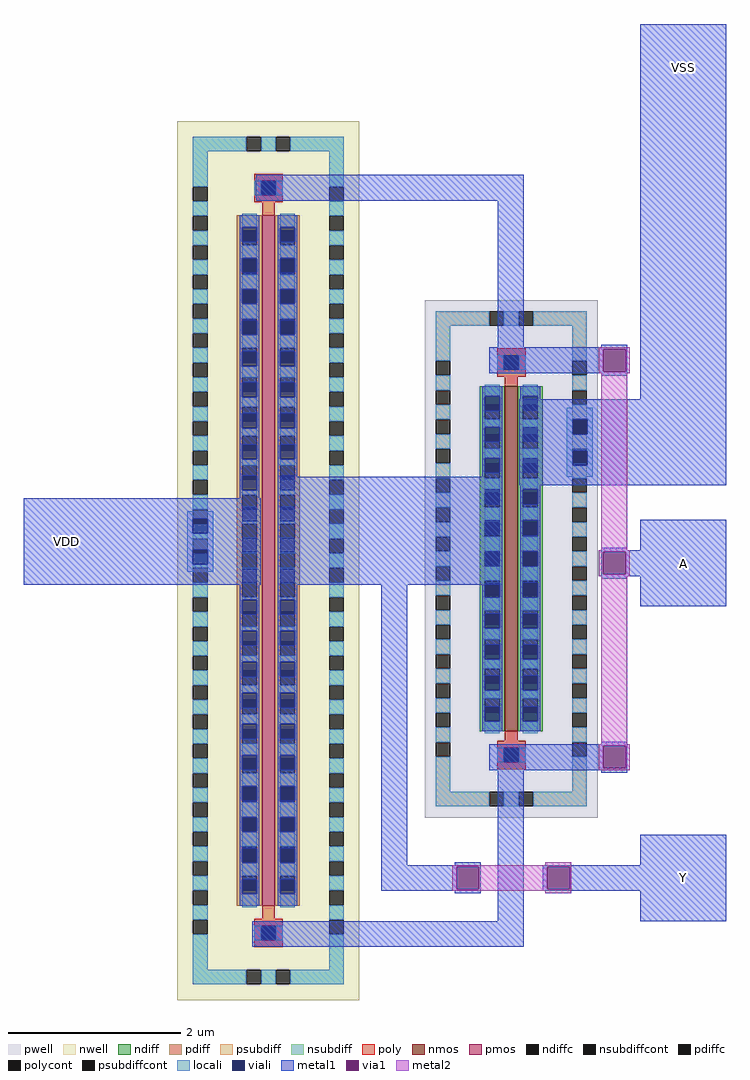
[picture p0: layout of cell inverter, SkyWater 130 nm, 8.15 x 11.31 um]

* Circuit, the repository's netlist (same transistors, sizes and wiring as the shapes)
** sch_path: /home/anton/projects/tt06-grab-bag/xschem/inverter.sch
.subckt inverter VDD VSS A Y
*.PININFO VDD:B VSS:B A:I Y:O
XM1 Y A VDD VDD sky130_fd_pr__pfet_01v8 L=0.15 W=8 nf=1 m=1
XM2 Y A VSS VSS sky130_fd_pr__nfet_01v8 L=0.15 W=4 nf=1 m=1
.ends
.end

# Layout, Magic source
magic
tech sky130A
magscale 1 2
<< locali >>
rect 850 1893 910 1920
rect 850 1859 863 1893
rect 897 1859 910 1893
rect 850 1821 910 1859
rect 850 1787 863 1821
rect 897 1787 910 1821
rect 850 1760 910 1787
rect -30 1663 30 1680
rect -30 1629 -17 1663
rect 17 1629 30 1663
rect -30 1591 30 1629
rect -30 1557 -17 1591
rect 17 1557 30 1591
rect -30 1540 30 1557
<< viali >>
rect 863 1859 897 1893
rect 863 1787 897 1821
rect -17 1629 17 1663
rect -17 1557 17 1591
<< metal1 >>
rect 130 2400 750 2460
rect 690 2060 750 2400
rect 930 2060 990 2066
rect 670 2056 990 2060
rect 670 2004 934 2056
rect 986 2004 990 2056
rect 670 2000 990 2004
rect 930 1994 990 2000
rect 1020 1940 1220 2810
rect 740 1893 1220 1940
rect 740 1859 863 1893
rect 897 1859 1220 1893
rect 740 1821 1220 1859
rect 740 1787 863 1821
rect 897 1787 1220 1821
rect -410 1663 140 1710
rect -410 1629 -17 1663
rect 17 1629 140 1663
rect -410 1591 140 1629
rect -410 1557 -17 1591
rect 17 1557 140 1591
rect -410 1510 140 1557
rect 180 1510 700 1760
rect 740 1740 1220 1787
rect 930 1590 990 1596
rect 1020 1590 1220 1660
rect 930 1586 1220 1590
rect 930 1534 934 1586
rect 986 1534 1220 1586
rect 930 1530 1220 1534
rect 930 1524 990 1530
rect 420 860 480 1510
rect 1020 1460 1220 1530
rect 930 1140 990 1146
rect 670 1136 990 1140
rect 670 1084 934 1136
rect 986 1084 990 1136
rect 670 1080 990 1084
rect 590 860 650 866
rect 420 856 650 860
rect 420 804 594 856
rect 646 804 650 856
rect 420 800 650 804
rect 590 794 650 800
rect 690 730 750 1080
rect 930 1074 990 1080
rect 1020 860 1220 930
rect 794 856 1220 860
rect 794 804 804 856
rect 856 804 1220 856
rect 794 800 1220 804
rect 1020 730 1220 800
rect 120 670 750 730
<< via1 >>
rect 934 2004 986 2056
rect 934 1534 986 1586
rect 934 1084 986 1136
rect 594 804 646 856
rect 804 804 856 856
<< metal2 >>
rect 924 2056 996 2060
rect 924 2004 934 2056
rect 986 2004 996 2056
rect 924 2000 996 2004
rect 930 1590 990 2000
rect 924 1586 996 1590
rect 924 1534 934 1586
rect 986 1534 996 1586
rect 924 1530 996 1534
rect 930 1140 990 1530
rect 924 1136 996 1140
rect 924 1084 934 1136
rect 986 1084 996 1136
rect 924 1080 996 1084
rect 800 860 860 866
rect 584 856 860 860
rect 584 804 594 856
rect 646 804 804 856
rect 856 804 860 856
rect 584 800 860 804
rect 800 794 860 800
use sky130_fd_pr__pfet_01v8_UGACMG  XM1
transform 1 0 158 0 1 1566
box -211 -1019 211 1019
use sky130_fd_pr__nfet_01v8_PWNS5P  XM2
transform 1 0 721 0 1 1570
box -201 -600 201 600
<< labels >>
flabel metal1 s -410 1510 -210 1710 0 FreeSans 1600 0 0 0 VDD
port 1 nsew
flabel metal1 s 1020 2610 1220 2810 0 FreeSans 1600 0 0 0 VSS
port 2 nsew
flabel metal1 s 1020 1460 1220 1660 0 FreeSans 1600 0 0 0 A
port 3 nsew
flabel metal1 s 1020 730 1220 930 0 FreeSans 1600 0 0 0 Y
port 4 nsew
<< properties >>
string GDS_END 67878
string GDS_FILE /home/anton/projects/tt06-grab-bag/gds/tt_um_algofoogle_tt06_grab_bag.gds
string GDS_START 64338
<< end >>

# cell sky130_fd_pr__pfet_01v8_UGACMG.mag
magic
tech sky130A
magscale 1 2
<< nwell >>
rect -211 -1019 211 1019
<< pmos >>
rect -15 -800 15 800
<< pdiff >>
rect -73 765 -15 800
rect -73 731 -61 765
rect -27 731 -15 765
rect -73 697 -15 731
rect -73 663 -61 697
rect -27 663 -15 697
rect -73 629 -15 663
rect -73 595 -61 629
rect -27 595 -15 629
rect -73 561 -15 595
rect -73 527 -61 561
rect -27 527 -15 561
rect -73 493 -15 527
rect -73 459 -61 493
rect -27 459 -15 493
rect -73 425 -15 459
rect -73 391 -61 425
rect -27 391 -15 425
rect -73 357 -15 391
rect -73 323 -61 357
rect -27 323 -15 357
rect -73 289 -15 323
rect -73 255 -61 289
rect -27 255 -15 289
rect -73 221 -15 255
rect -73 187 -61 221
rect -27 187 -15 221
rect -73 153 -15 187
rect -73 119 -61 153
rect -27 119 -15 153
rect -73 85 -15 119
rect -73 51 -61 85
rect -27 51 -15 85
rect -73 17 -15 51
rect -73 -17 -61 17
rect -27 -17 -15 17
rect -73 -51 -15 -17
rect -73 -85 -61 -51
rect -27 -85 -15 -51
rect -73 -119 -15 -85
rect -73 -153 -61 -119
rect -27 -153 -15 -119
rect -73 -187 -15 -153
rect -73 -221 -61 -187
rect -27 -221 -15 -187
rect -73 -255 -15 -221
rect -73 -289 -61 -255
rect -27 -289 -15 -255
rect -73 -323 -15 -289
rect -73 -357 -61 -323
rect -27 -357 -15 -323
rect -73 -391 -15 -357
rect -73 -425 -61 -391
rect -27 -425 -15 -391
rect -73 -459 -15 -425
rect -73 -493 -61 -459
rect -27 -493 -15 -459
rect -73 -527 -15 -493
rect -73 -561 -61 -527
rect -27 -561 -15 -527
rect -73 -595 -15 -561
rect -73 -629 -61 -595
rect -27 -629 -15 -595
rect -73 -663 -15 -629
rect -73 -697 -61 -663
rect -27 -697 -15 -663
rect -73 -731 -15 -697
rect -73 -765 -61 -731
rect -27 -765 -15 -731
rect -73 -800 -15 -765
rect 15 765 73 800
rect 15 731 27 765
rect 61 731 73 765
rect 15 697 73 731
rect 15 663 27 697
rect 61 663 73 697
rect 15 629 73 663
rect 15 595 27 629
rect 61 595 73 629
rect 15 561 73 595
rect 15 527 27 561
rect 61 527 73 561
rect 15 493 73 527
rect 15 459 27 493
rect 61 459 73 493
rect 15 425 73 459
rect 15 391 27 425
rect 61 391 73 425
rect 15 357 73 391
rect 15 323 27 357
rect 61 323 73 357
rect 15 289 73 323
rect 15 255 27 289
rect 61 255 73 289
rect 15 221 73 255
rect 15 187 27 221
rect 61 187 73 221
rect 15 153 73 187
rect 15 119 27 153
rect 61 119 73 153
rect 15 85 73 119
rect 15 51 27 85
rect 61 51 73 85
rect 15 17 73 51
rect 15 -17 27 17
rect 61 -17 73 17
rect 15 -51 73 -17
rect 15 -85 27 -51
rect 61 -85 73 -51
rect 15 -119 73 -85
rect 15 -153 27 -119
rect 61 -153 73 -119
rect 15 -187 73 -153
rect 15 -221 27 -187
rect 61 -221 73 -187
rect 15 -255 73 -221
rect 15 -289 27 -255
rect 61 -289 73 -255
rect 15 -323 73 -289
rect 15 -357 27 -323
rect 61 -357 73 -323
rect 15 -391 73 -357
rect 15 -425 27 -391
rect 61 -425 73 -391
rect 15 -459 73 -425
rect 15 -493 27 -459
rect 61 -493 73 -459
rect 15 -527 73 -493
rect 15 -561 27 -527
rect 61 -561 73 -527
rect 15 -595 73 -561
rect 15 -629 27 -595
rect 61 -629 73 -595
rect 15 -663 73 -629
rect 15 -697 27 -663
rect 61 -697 73 -663
rect 15 -731 73 -697
rect 15 -765 27 -731
rect 61 -765 73 -731
rect 15 -800 73 -765
<< pdiffc >>
rect -61 731 -27 765
rect -61 663 -27 697
rect -61 595 -27 629
rect -61 527 -27 561
rect -61 459 -27 493
rect -61 391 -27 425
rect -61 323 -27 357
rect -61 255 -27 289
rect -61 187 -27 221
rect -61 119 -27 153
rect -61 51 -27 85
rect -61 -17 -27 17
rect -61 -85 -27 -51
rect -61 -153 -27 -119
rect -61 -221 -27 -187
rect -61 -289 -27 -255
rect -61 -357 -27 -323
rect -61 -425 -27 -391
rect -61 -493 -27 -459
rect -61 -561 -27 -527
rect -61 -629 -27 -595
rect -61 -697 -27 -663
rect -61 -765 -27 -731
rect 27 731 61 765
rect 27 663 61 697
rect 27 595 61 629
rect 27 527 61 561
rect 27 459 61 493
rect 27 391 61 425
rect 27 323 61 357
rect 27 255 61 289
rect 27 187 61 221
rect 27 119 61 153
rect 27 51 61 85
rect 27 -17 61 17
rect 27 -85 61 -51
rect 27 -153 61 -119
rect 27 -221 61 -187
rect 27 -289 61 -255
rect 27 -357 61 -323
rect 27 -425 61 -391
rect 27 -493 61 -459
rect 27 -561 61 -527
rect 27 -629 61 -595
rect 27 -697 61 -663
rect 27 -765 61 -731
<< nsubdiff >>
rect -175 949 -51 983
rect -17 949 17 983
rect 51 949 175 983
rect -175 867 -141 949
rect -175 799 -141 833
rect 141 867 175 949
rect -175 731 -141 765
rect -175 663 -141 697
rect -175 595 -141 629
rect -175 527 -141 561
rect -175 459 -141 493
rect -175 391 -141 425
rect -175 323 -141 357
rect -175 255 -141 289
rect -175 187 -141 221
rect -175 119 -141 153
rect -175 51 -141 85
rect -175 -17 -141 17
rect -175 -85 -141 -51
rect -175 -153 -141 -119
rect -175 -221 -141 -187
rect -175 -289 -141 -255
rect -175 -357 -141 -323
rect -175 -425 -141 -391
rect -175 -493 -141 -459
rect -175 -561 -141 -527
rect -175 -629 -141 -595
rect -175 -697 -141 -663
rect -175 -765 -141 -731
rect -175 -833 -141 -799
rect 141 799 175 833
rect 141 731 175 765
rect 141 663 175 697
rect 141 595 175 629
rect 141 527 175 561
rect 141 459 175 493
rect 141 391 175 425
rect 141 323 175 357
rect 141 255 175 289
rect 141 187 175 221
rect 141 119 175 153
rect 141 51 175 85
rect 141 -17 175 17
rect 141 -85 175 -51
rect 141 -153 175 -119
rect 141 -221 175 -187
rect 141 -289 175 -255
rect 141 -357 175 -323
rect 141 -425 175 -391
rect 141 -493 175 -459
rect 141 -561 175 -527
rect 141 -629 175 -595
rect 141 -697 175 -663
rect 141 -765 175 -731
rect -175 -949 -141 -867
rect 141 -833 175 -799
rect 141 -949 175 -867
rect -175 -983 -51 -949
rect -17 -983 17 -949
rect 51 -983 175 -949
<< nsubdiffcont >>
rect -51 949 -17 983
rect 17 949 51 983
rect -175 833 -141 867
rect 141 833 175 867
rect -175 765 -141 799
rect -175 697 -141 731
rect -175 629 -141 663
rect -175 561 -141 595
rect -175 493 -141 527
rect -175 425 -141 459
rect -175 357 -141 391
rect -175 289 -141 323
rect -175 221 -141 255
rect -175 153 -141 187
rect -175 85 -141 119
rect -175 17 -141 51
rect -175 -51 -141 -17
rect -175 -119 -141 -85
rect -175 -187 -141 -153
rect -175 -255 -141 -221
rect -175 -323 -141 -289
rect -175 -391 -141 -357
rect -175 -459 -141 -425
rect -175 -527 -141 -493
rect -175 -595 -141 -561
rect -175 -663 -141 -629
rect -175 -731 -141 -697
rect -175 -799 -141 -765
rect 141 765 175 799
rect 141 697 175 731
rect 141 629 175 663
rect 141 561 175 595
rect 141 493 175 527
rect 141 425 175 459
rect 141 357 175 391
rect 141 289 175 323
rect 141 221 175 255
rect 141 153 175 187
rect 141 85 175 119
rect 141 17 175 51
rect 141 -51 175 -17
rect 141 -119 175 -85
rect 141 -187 175 -153
rect 141 -255 175 -221
rect 141 -323 175 -289
rect 141 -391 175 -357
rect 141 -459 175 -425
rect 141 -527 175 -493
rect 141 -595 175 -561
rect 141 -663 175 -629
rect 141 -731 175 -697
rect 141 -799 175 -765
rect -175 -867 -141 -833
rect 141 -867 175 -833
rect -51 -983 -17 -949
rect 17 -983 51 -949
<< poly >>
rect -33 881 33 897
rect -33 847 -17 881
rect 17 847 33 881
rect -33 831 33 847
rect -15 800 15 831
rect -15 -831 15 -800
rect -33 -847 33 -831
rect -33 -881 -17 -847
rect 17 -881 33 -847
rect -33 -897 33 -881
<< polycont >>
rect -17 847 17 881
rect -17 -881 17 -847
<< locali >>
rect -175 949 -51 983
rect -17 949 17 983
rect 51 949 175 983
rect -175 867 -141 949
rect -33 847 -17 881
rect 17 847 33 881
rect 141 867 175 949
rect -175 799 -141 833
rect -175 731 -141 765
rect -175 663 -141 697
rect -175 595 -141 629
rect -175 527 -141 561
rect -175 459 -141 493
rect -175 391 -141 425
rect -175 323 -141 357
rect -175 255 -141 289
rect -175 187 -141 221
rect -175 119 -141 153
rect -175 51 -141 85
rect -175 -17 -141 17
rect -175 -85 -141 -51
rect -175 -153 -141 -119
rect -175 -221 -141 -187
rect -175 -289 -141 -255
rect -175 -357 -141 -323
rect -175 -425 -141 -391
rect -175 -493 -141 -459
rect -175 -561 -141 -527
rect -175 -629 -141 -595
rect -175 -697 -141 -663
rect -175 -765 -141 -731
rect -175 -833 -141 -799
rect -61 773 -27 804
rect -61 701 -27 731
rect -61 629 -27 663
rect -61 561 -27 595
rect -61 493 -27 523
rect -61 425 -27 451
rect -61 357 -27 379
rect -61 289 -27 307
rect -61 221 -27 235
rect -61 153 -27 163
rect -61 85 -27 91
rect -61 17 -27 19
rect -61 -19 -27 -17
rect -61 -91 -27 -85
rect -61 -163 -27 -153
rect -61 -235 -27 -221
rect -61 -307 -27 -289
rect -61 -379 -27 -357
rect -61 -451 -27 -425
rect -61 -523 -27 -493
rect -61 -595 -27 -561
rect -61 -663 -27 -629
rect -61 -731 -27 -701
rect -61 -804 -27 -773
rect 27 773 61 804
rect 27 701 61 731
rect 27 629 61 663
rect 27 561 61 595
rect 27 493 61 523
rect 27 425 61 451
rect 27 357 61 379
rect 27 289 61 307
rect 27 221 61 235
rect 27 153 61 163
rect 27 85 61 91
rect 27 17 61 19
rect 27 -19 61 -17
rect 27 -91 61 -85
rect 27 -163 61 -153
rect 27 -235 61 -221
rect 27 -307 61 -289
rect 27 -379 61 -357
rect 27 -451 61 -425
rect 27 -523 61 -493
rect 27 -595 61 -561
rect 27 -663 61 -629
rect 27 -731 61 -701
rect 27 -804 61 -773
rect 141 799 175 833
rect 141 731 175 765
rect 141 663 175 697
rect 141 595 175 629
rect 141 527 175 561
rect 141 459 175 493
rect 141 391 175 425
rect 141 323 175 357
rect 141 255 175 289
rect 141 187 175 221
rect 141 119 175 153
rect 141 51 175 85
rect 141 -17 175 17
rect 141 -85 175 -51
rect 141 -153 175 -119
rect 141 -221 175 -187
rect 141 -289 175 -255
rect 141 -357 175 -323
rect 141 -425 175 -391
rect 141 -493 175 -459
rect 141 -561 175 -527
rect 141 -629 175 -595
rect 141 -697 175 -663
rect 141 -765 175 -731
rect 141 -833 175 -799
rect -175 -949 -141 -867
rect -33 -881 -17 -847
rect 17 -881 33 -847
rect 141 -949 175 -867
rect -175 -983 -51 -949
rect -17 -983 17 -949
rect 51 -983 175 -949
<< viali >>
rect -17 847 17 881
rect -61 765 -27 773
rect -61 739 -27 765
rect -61 697 -27 701
rect -61 667 -27 697
rect -61 595 -27 629
rect -61 527 -27 557
rect -61 523 -27 527
rect -61 459 -27 485
rect -61 451 -27 459
rect -61 391 -27 413
rect -61 379 -27 391
rect -61 323 -27 341
rect -61 307 -27 323
rect -61 255 -27 269
rect -61 235 -27 255
rect -61 187 -27 197
rect -61 163 -27 187
rect -61 119 -27 125
rect -61 91 -27 119
rect -61 51 -27 53
rect -61 19 -27 51
rect -61 -51 -27 -19
rect -61 -53 -27 -51
rect -61 -119 -27 -91
rect -61 -125 -27 -119
rect -61 -187 -27 -163
rect -61 -197 -27 -187
rect -61 -255 -27 -235
rect -61 -269 -27 -255
rect -61 -323 -27 -307
rect -61 -341 -27 -323
rect -61 -391 -27 -379
rect -61 -413 -27 -391
rect -61 -459 -27 -451
rect -61 -485 -27 -459
rect -61 -527 -27 -523
rect -61 -557 -27 -527
rect -61 -629 -27 -595
rect -61 -697 -27 -667
rect -61 -701 -27 -697
rect -61 -765 -27 -739
rect -61 -773 -27 -765
rect 27 765 61 773
rect 27 739 61 765
rect 27 697 61 701
rect 27 667 61 697
rect 27 595 61 629
rect 27 527 61 557
rect 27 523 61 527
rect 27 459 61 485
rect 27 451 61 459
rect 27 391 61 413
rect 27 379 61 391
rect 27 323 61 341
rect 27 307 61 323
rect 27 255 61 269
rect 27 235 61 255
rect 27 187 61 197
rect 27 163 61 187
rect 27 119 61 125
rect 27 91 61 119
rect 27 51 61 53
rect 27 19 61 51
rect 27 -51 61 -19
rect 27 -53 61 -51
rect 27 -119 61 -91
rect 27 -125 61 -119
rect 27 -187 61 -163
rect 27 -197 61 -187
rect 27 -255 61 -235
rect 27 -269 61 -255
rect 27 -323 61 -307
rect 27 -341 61 -323
rect 27 -391 61 -379
rect 27 -413 61 -391
rect 27 -459 61 -451
rect 27 -485 61 -459
rect 27 -527 61 -523
rect 27 -557 61 -527
rect 27 -629 61 -595
rect 27 -697 61 -667
rect 27 -701 61 -697
rect 27 -765 61 -739
rect 27 -773 61 -765
rect -17 -881 17 -847
<< metal1 >>
rect -29 881 29 887
rect -29 847 -17 881
rect 17 847 29 881
rect -29 841 29 847
rect -67 773 -21 800
rect -67 739 -61 773
rect -27 739 -21 773
rect -67 701 -21 739
rect -67 667 -61 701
rect -27 667 -21 701
rect -67 629 -21 667
rect -67 595 -61 629
rect -27 595 -21 629
rect -67 557 -21 595
rect -67 523 -61 557
rect -27 523 -21 557
rect -67 485 -21 523
rect -67 451 -61 485
rect -27 451 -21 485
rect -67 413 -21 451
rect -67 379 -61 413
rect -27 379 -21 413
rect -67 341 -21 379
rect -67 307 -61 341
rect -27 307 -21 341
rect -67 269 -21 307
rect -67 235 -61 269
rect -27 235 -21 269
rect -67 197 -21 235
rect -67 163 -61 197
rect -27 163 -21 197
rect -67 125 -21 163
rect -67 91 -61 125
rect -27 91 -21 125
rect -67 53 -21 91
rect -67 19 -61 53
rect -27 19 -21 53
rect -67 -19 -21 19
rect -67 -53 -61 -19
rect -27 -53 -21 -19
rect -67 -91 -21 -53
rect -67 -125 -61 -91
rect -27 -125 -21 -91
rect -67 -163 -21 -125
rect -67 -197 -61 -163
rect -27 -197 -21 -163
rect -67 -235 -21 -197
rect -67 -269 -61 -235
rect -27 -269 -21 -235
rect -67 -307 -21 -269
rect -67 -341 -61 -307
rect -27 -341 -21 -307
rect -67 -379 -21 -341
rect -67 -413 -61 -379
rect -27 -413 -21 -379
rect -67 -451 -21 -413
rect -67 -485 -61 -451
rect -27 -485 -21 -451
rect -67 -523 -21 -485
rect -67 -557 -61 -523
rect -27 -557 -21 -523
rect -67 -595 -21 -557
rect -67 -629 -61 -595
rect -27 -629 -21 -595
rect -67 -667 -21 -629
rect -67 -701 -61 -667
rect -27 -701 -21 -667
rect -67 -739 -21 -701
rect -67 -773 -61 -739
rect -27 -773 -21 -739
rect -67 -800 -21 -773
rect 21 773 67 800
rect 21 739 27 773
rect 61 739 67 773
rect 21 701 67 739
rect 21 667 27 701
rect 61 667 67 701
rect 21 629 67 667
rect 21 595 27 629
rect 61 595 67 629
rect 21 557 67 595
rect 21 523 27 557
rect 61 523 67 557
rect 21 485 67 523
rect 21 451 27 485
rect 61 451 67 485
rect 21 413 67 451
rect 21 379 27 413
rect 61 379 67 413
rect 21 341 67 379
rect 21 307 27 341
rect 61 307 67 341
rect 21 269 67 307
rect 21 235 27 269
rect 61 235 67 269
rect 21 197 67 235
rect 21 163 27 197
rect 61 163 67 197
rect 21 125 67 163
rect 21 91 27 125
rect 61 91 67 125
rect 21 53 67 91
rect 21 19 27 53
rect 61 19 67 53
rect 21 -19 67 19
rect 21 -53 27 -19
rect 61 -53 67 -19
rect 21 -91 67 -53
rect 21 -125 27 -91
rect 61 -125 67 -91
rect 21 -163 67 -125
rect 21 -197 27 -163
rect 61 -197 67 -163
rect 21 -235 67 -197
rect 21 -269 27 -235
rect 61 -269 67 -235
rect 21 -307 67 -269
rect 21 -341 27 -307
rect 61 -341 67 -307
rect 21 -379 67 -341
rect 21 -413 27 -379
rect 61 -413 67 -379
rect 21 -451 67 -413
rect 21 -485 27 -451
rect 61 -485 67 -451
rect 21 -523 67 -485
rect 21 -557 27 -523
rect 61 -557 67 -523
rect 21 -595 67 -557
rect 21 -629 27 -595
rect 61 -629 67 -595
rect 21 -667 67 -629
rect 21 -701 27 -667
rect 61 -701 67 -667
rect 21 -739 67 -701
rect 21 -773 27 -739
rect 61 -773 67 -739
rect 21 -800 67 -773
rect -29 -847 29 -841
rect -29 -881 -17 -847
rect 17 -881 29 -847
rect -29 -887 29 -881
<< properties >>
string FIXED_BBOX -158 -966 158 966
string GDS_END 64298
string GDS_FILE /home/anton/projects/tt06-grab-bag/gds/tt_um_algofoogle_tt06_grab_bag.gds
string GDS_START 52838
<< end >>

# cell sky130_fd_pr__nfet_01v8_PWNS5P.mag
magic
tech sky130A
magscale 1 2
<< pwell >>
rect -201 -600 201 600
<< nmos >>
rect -15 -400 15 400
<< ndiff >>
rect -73 357 -15 400
rect -73 323 -61 357
rect -27 323 -15 357
rect -73 289 -15 323
rect -73 255 -61 289
rect -27 255 -15 289
rect -73 221 -15 255
rect -73 187 -61 221
rect -27 187 -15 221
rect -73 153 -15 187
rect -73 119 -61 153
rect -27 119 -15 153
rect -73 85 -15 119
rect -73 51 -61 85
rect -27 51 -15 85
rect -73 17 -15 51
rect -73 -17 -61 17
rect -27 -17 -15 17
rect -73 -51 -15 -17
rect -73 -85 -61 -51
rect -27 -85 -15 -51
rect -73 -119 -15 -85
rect -73 -153 -61 -119
rect -27 -153 -15 -119
rect -73 -187 -15 -153
rect -73 -221 -61 -187
rect -27 -221 -15 -187
rect -73 -255 -15 -221
rect -73 -289 -61 -255
rect -27 -289 -15 -255
rect -73 -323 -15 -289
rect -73 -357 -61 -323
rect -27 -357 -15 -323
rect -73 -400 -15 -357
rect 15 357 73 400
rect 15 323 27 357
rect 61 323 73 357
rect 15 289 73 323
rect 15 255 27 289
rect 61 255 73 289
rect 15 221 73 255
rect 15 187 27 221
rect 61 187 73 221
rect 15 153 73 187
rect 15 119 27 153
rect 61 119 73 153
rect 15 85 73 119
rect 15 51 27 85
rect 61 51 73 85
rect 15 17 73 51
rect 15 -17 27 17
rect 61 -17 73 17
rect 15 -51 73 -17
rect 15 -85 27 -51
rect 61 -85 73 -51
rect 15 -119 73 -85
rect 15 -153 27 -119
rect 61 -153 73 -119
rect 15 -187 73 -153
rect 15 -221 27 -187
rect 61 -221 73 -187
rect 15 -255 73 -221
rect 15 -289 27 -255
rect 61 -289 73 -255
rect 15 -323 73 -289
rect 15 -357 27 -323
rect 61 -357 73 -323
rect 15 -400 73 -357
<< ndiffc >>
rect -61 323 -27 357
rect -61 255 -27 289
rect -61 187 -27 221
rect -61 119 -27 153
rect -61 51 -27 85
rect -61 -17 -27 17
rect -61 -85 -27 -51
rect -61 -153 -27 -119
rect -61 -221 -27 -187
rect -61 -289 -27 -255
rect -61 -357 -27 -323
rect 27 323 61 357
rect 27 255 61 289
rect 27 187 61 221
rect 27 119 61 153
rect 27 51 61 85
rect 27 -17 61 17
rect 27 -85 61 -51
rect 27 -153 61 -119
rect 27 -221 61 -187
rect 27 -289 61 -255
rect 27 -357 61 -323
<< psubdiff >>
rect -175 540 -51 574
rect -17 540 17 574
rect 51 540 175 574
rect -175 459 -141 540
rect -175 391 -141 425
rect 141 459 175 540
rect -175 323 -141 357
rect -175 255 -141 289
rect -175 187 -141 221
rect -175 119 -141 153
rect -175 51 -141 85
rect -175 -17 -141 17
rect -175 -85 -141 -51
rect -175 -153 -141 -119
rect -175 -221 -141 -187
rect -175 -289 -141 -255
rect -175 -357 -141 -323
rect -175 -425 -141 -391
rect 141 391 175 425
rect 141 323 175 357
rect 141 255 175 289
rect 141 187 175 221
rect 141 119 175 153
rect 141 51 175 85
rect 141 -17 175 17
rect 141 -85 175 -51
rect 141 -153 175 -119
rect 141 -221 175 -187
rect 141 -289 175 -255
rect 141 -357 175 -323
rect -175 -540 -141 -459
rect 141 -425 175 -391
rect 141 -540 175 -459
rect -175 -574 -51 -540
rect -17 -574 17 -540
rect 51 -574 175 -540
<< psubdiffcont >>
rect -51 540 -17 574
rect 17 540 51 574
rect -175 425 -141 459
rect 141 425 175 459
rect -175 357 -141 391
rect -175 289 -141 323
rect -175 221 -141 255
rect -175 153 -141 187
rect -175 85 -141 119
rect -175 17 -141 51
rect -175 -51 -141 -17
rect -175 -119 -141 -85
rect -175 -187 -141 -153
rect -175 -255 -141 -221
rect -175 -323 -141 -289
rect -175 -391 -141 -357
rect 141 357 175 391
rect 141 289 175 323
rect 141 221 175 255
rect 141 153 175 187
rect 141 85 175 119
rect 141 17 175 51
rect 141 -51 175 -17
rect 141 -119 175 -85
rect 141 -187 175 -153
rect 141 -255 175 -221
rect 141 -323 175 -289
rect 141 -391 175 -357
rect -175 -459 -141 -425
rect 141 -459 175 -425
rect -51 -574 -17 -540
rect 17 -574 51 -540
<< poly >>
rect -33 472 33 488
rect -33 438 -17 472
rect 17 438 33 472
rect -33 422 33 438
rect -15 400 15 422
rect -15 -422 15 -400
rect -33 -438 33 -422
rect -33 -472 -17 -438
rect 17 -472 33 -438
rect -33 -488 33 -472
<< polycont >>
rect -17 438 17 472
rect -17 -472 17 -438
<< locali >>
rect -175 540 -51 574
rect -17 540 17 574
rect 51 540 175 574
rect -175 459 -141 540
rect -33 438 -17 472
rect 17 438 33 472
rect 141 459 175 540
rect -175 391 -141 425
rect -175 323 -141 357
rect -175 255 -141 289
rect -175 187 -141 221
rect -175 119 -141 153
rect -175 51 -141 85
rect -175 -17 -141 17
rect -175 -85 -141 -51
rect -175 -153 -141 -119
rect -175 -221 -141 -187
rect -175 -289 -141 -255
rect -175 -357 -141 -323
rect -175 -425 -141 -391
rect -61 377 -27 404
rect -61 305 -27 323
rect -61 233 -27 255
rect -61 161 -27 187
rect -61 89 -27 119
rect -61 17 -27 51
rect -61 -51 -27 -17
rect -61 -119 -27 -89
rect -61 -187 -27 -161
rect -61 -255 -27 -233
rect -61 -323 -27 -305
rect -61 -404 -27 -377
rect 27 377 61 404
rect 27 305 61 323
rect 27 233 61 255
rect 27 161 61 187
rect 27 89 61 119
rect 27 17 61 51
rect 27 -51 61 -17
rect 27 -119 61 -89
rect 27 -187 61 -161
rect 27 -255 61 -233
rect 27 -323 61 -305
rect 27 -404 61 -377
rect 141 391 175 425
rect 141 323 175 357
rect 141 255 175 289
rect 141 187 175 221
rect 141 119 175 153
rect 141 51 175 85
rect 141 -17 175 17
rect 141 -85 175 -51
rect 141 -153 175 -119
rect 141 -221 175 -187
rect 141 -289 175 -255
rect 141 -357 175 -323
rect 141 -425 175 -391
rect -175 -540 -141 -459
rect -33 -472 -17 -438
rect 17 -472 33 -438
rect 141 -540 175 -459
rect -175 -574 -51 -540
rect -17 -574 17 -540
rect 51 -574 175 -540
<< viali >>
rect -17 438 17 472
rect -61 357 -27 377
rect -61 343 -27 357
rect -61 289 -27 305
rect -61 271 -27 289
rect -61 221 -27 233
rect -61 199 -27 221
rect -61 153 -27 161
rect -61 127 -27 153
rect -61 85 -27 89
rect -61 55 -27 85
rect -61 -17 -27 17
rect -61 -85 -27 -55
rect -61 -89 -27 -85
rect -61 -153 -27 -127
rect -61 -161 -27 -153
rect -61 -221 -27 -199
rect -61 -233 -27 -221
rect -61 -289 -27 -271
rect -61 -305 -27 -289
rect -61 -357 -27 -343
rect -61 -377 -27 -357
rect 27 357 61 377
rect 27 343 61 357
rect 27 289 61 305
rect 27 271 61 289
rect 27 221 61 233
rect 27 199 61 221
rect 27 153 61 161
rect 27 127 61 153
rect 27 85 61 89
rect 27 55 61 85
rect 27 -17 61 17
rect 27 -85 61 -55
rect 27 -89 61 -85
rect 27 -153 61 -127
rect 27 -161 61 -153
rect 27 -221 61 -199
rect 27 -233 61 -221
rect 27 -289 61 -271
rect 27 -305 61 -289
rect 27 -357 61 -343
rect 27 -377 61 -357
rect -17 -472 17 -438
<< metal1 >>
rect -29 472 29 478
rect -29 438 -17 472
rect 17 438 29 472
rect -29 432 29 438
rect -67 377 -21 400
rect -67 343 -61 377
rect -27 343 -21 377
rect -67 305 -21 343
rect -67 271 -61 305
rect -27 271 -21 305
rect -67 233 -21 271
rect -67 199 -61 233
rect -27 199 -21 233
rect -67 161 -21 199
rect -67 127 -61 161
rect -27 127 -21 161
rect -67 89 -21 127
rect -67 55 -61 89
rect -27 55 -21 89
rect -67 17 -21 55
rect -67 -17 -61 17
rect -27 -17 -21 17
rect -67 -55 -21 -17
rect -67 -89 -61 -55
rect -27 -89 -21 -55
rect -67 -127 -21 -89
rect -67 -161 -61 -127
rect -27 -161 -21 -127
rect -67 -199 -21 -161
rect -67 -233 -61 -199
rect -27 -233 -21 -199
rect -67 -271 -21 -233
rect -67 -305 -61 -271
rect -27 -305 -21 -271
rect -67 -343 -21 -305
rect -67 -377 -61 -343
rect -27 -377 -21 -343
rect -67 -400 -21 -377
rect 21 377 67 400
rect 21 343 27 377
rect 61 343 67 377
rect 21 305 67 343
rect 21 271 27 305
rect 61 271 67 305
rect 21 233 67 271
rect 21 199 27 233
rect 61 199 67 233
rect 21 161 67 199
rect 21 127 27 161
rect 61 127 67 161
rect 21 89 67 127
rect 21 55 27 89
rect 61 55 67 89
rect 21 17 67 55
rect 21 -17 27 17
rect 61 -17 67 17
rect 21 -55 67 -17
rect 21 -89 27 -55
rect 61 -89 67 -55
rect 21 -127 67 -89
rect 21 -161 27 -127
rect 61 -161 67 -127
rect 21 -199 67 -161
rect 21 -233 27 -199
rect 61 -233 67 -199
rect 21 -271 67 -233
rect 21 -305 27 -271
rect 61 -305 67 -271
rect 21 -343 67 -305
rect 21 -377 27 -343
rect 61 -377 67 -343
rect 21 -400 67 -377
rect -29 -438 29 -432
rect -29 -472 -17 -438
rect 17 -472 29 -438
rect -29 -478 29 -472
<< properties >>
string FIXED_BBOX -158 -557 158 557
string GDS_END 52776
string GDS_FILE /home/anton/projects/tt06-grab-bag/gds/tt_um_algofoogle_tt06_grab_bag.gds
string GDS_START 45860
<< end >>
